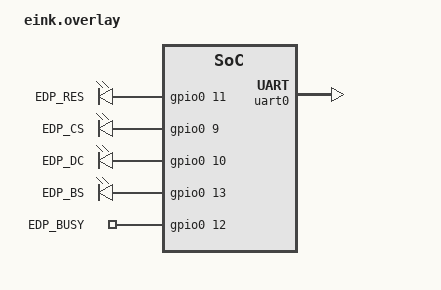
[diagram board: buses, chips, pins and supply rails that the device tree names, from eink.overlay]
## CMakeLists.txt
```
cmake_minimum_required(VERSION 3.20.0)
find_package(Zephyr REQUIRED HINTS $ENV{ZEPHYR_BASE})

project(nrf51822_elink42)

# 將 src 目錄下的所有 .c 檔案添加到構建中
file(GLOB SRC_FILES "src/*.c")

target_sources(app PRIVATE ${SRC_FILES})
```

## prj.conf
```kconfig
CONFIG_GPIO=y
CONFIG_LED=y
CONFIG_I2C=n
CONFIG_SPI=y
CONFIG_SPI_NRFX=y
# 啟用內部合成時鐘源
CONFIG_CLOCK_CONTROL=y
CONFIG_CLOCK_CONTROL_NRF=y
CONFIG_CLOCK_CONTROL_NRF_K32SRC_SYNTH=y
CONFIG_CLOCK_CONTROL_NRF_K32SRC_XTAL=n

CONFIG_LOG=y                  # 啟用日志系統
CONFIG_USE_SEGGER_RTT=y       # 啟用 SEGGER RTT 作為日志後端
CONFIG_RTT_CONSOLE=n          # 啟用 RTT 作為控制台輸出
CONFIG_UART_CONSOLE=n         # 禁用 UART 控制台（因為我們使用 RTT）要關閉RTT才會出

CONFIG_FLASH=y
CONFIG_FLASH_MAP=y
CONFIG_MAIN_STACK_SIZE=1024

CONFIG_BT=y
CONFIG_BT_PERIPHERAL=y
```

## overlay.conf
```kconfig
 {
    aliases {
        respin = "/epd_out/res";
        cspin = "/epd_out/cs";
        dcpin = "/epd_out/dc";
        bspin = "/epd_out/bs";
        busypin = "/epd_in/busy";
        //vdiv = "/vbatt";
    };
    chosen {
        zephyr,code-partition = &slot0_partition;
    };

    partitions {
        compatible = "fixed-partitions";
        #address-cells = <1>;
        #size-cells = <1>;

        slot0_partition: partition@0 {
            label = "slot0";
            reg = <0x00000000 0x00020000>;  /* 128KB */
        };

        storage_partition: partition@20000 {
            label = "storage";
            reg = <0x00020000 0x00020000>;  /* 128KB */
        };
    };

    epd_out {
        compatible = "gpio-leds";
        res {
            gpios = <&gpio0 11 GPIO_ACTIVE_HIGH>;
            label = "EDP_RES";
        };
        cs {
            gpios = <&gpio0 9 GPIO_ACTIVE_HIGH>;
            label = "EDP_CS";
        };
        dc {
            gpios = <&gpio0 10 GPIO_ACTIVE_HIGH>;
            label = "EDP_DC";
        };
        bs {
            gpios = <&gpio0 13 GPIO_ACTIVE_HIGH>;
            label = "EDP_BS";
        };
    };

    epd_in {
        compatible = "gpio-keys";
        busy {
            gpios = <&gpio0 12 GPIO_ACTIVE_HIGH>;
            label = "EDP_BUSY";
        };
    };

    // vbatt {
        //     compatible = "voltage-divider";
        //     label = "Voltage Divider";
        //     io-channels = <&adc 5>;
        //     power-gpios = <&gpio0 29 0>;
        //     output-ohms = <100000>;
        //     status = "okay";
    // };
};

&uart0 {
    status = "okay";
};

&spi1_default {
    group1 {
        psels = <NRF_PSEL(SPIM_SCK, 0, 8)>, <NRF_PSEL(SPIM_MOSI, 0, 5)>;
    };
};

&spi1_sleep {
    group1 {
        psels = <NRF_PSEL(SPIM_SCK, 0, 8)>, <NRF_PSEL(SPIM_MOSI, 0, 5)>;
        /delete-property/ low-power-enable;
    };
};

&spi1 {
    /delete-property/ cs-gpios;

};
```

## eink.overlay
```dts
// To get started, press Ctrl+Space (or Option+Esc) to bring up the completion menu and view the available nodes.

// You can also use the buttons in the sidebar to perform actions on nodes.
// Actions currently available include:

// * Enabling / disabling the node
// * Adding the bus to a bus
// * Removing the node
// * Connecting ADC channels

// For more help, browse the DeviceTree documentation at https: //docs.zephyrproject.org/latest/guides/dts/index.html
// You can also visit the nRF DeviceTree extension documentation at https: //docs.nordicsemi.com/bundle/nrf-connect-vscode/page/guides/ncs_configure_app.html#devicetree-support-in-the-extension

/{
    aliases {
        respin = "/epd_out/res";
        cspin = "/epd_out/cs";
        dcpin = "/epd_out/dc";
        bspin = "/epd_out/bs";
        busypin = "/epd_in/busy";

        //vdiv = "/vbatt";
    };
    chosen {
        zephyr,code-partition = &slot0_partition;
    };

    partitions {
        compatible = "fixed-partitions";
        #address-cells = <1>;
        #size-cells = <1>;

        slot0_partition: partition@0 {
            label = "slot0";
            reg = <0x00000000 0x00020000>;  /* 128KB */
        };

        storage_partition: partition@20000 {
            label = "storage";
            reg = <0x00020000 0x00020000>;  /* 128KB */
        };
    };

    epd_out {
        compatible = "gpio-leds";
        res {
            gpios = <&gpio0 11 GPIO_ACTIVE_HIGH>;
            label = "EDP_RES";
        };
        cs {
            gpios = <&gpio0 9 GPIO_ACTIVE_HIGH>;
            label = "EDP_CS";
        };
        dc {
            gpios = <&gpio0 10 GPIO_ACTIVE_HIGH>;
            label = "EDP_DC";
        };
        bs {
            gpios = <&gpio0 13 GPIO_ACTIVE_HIGH>;
            label = "EDP_BS";
        };
    };

    epd_in {
        compatible = "gpio-keys";
        busy {
            gpios = <&gpio0 12 GPIO_ACTIVE_HIGH>;
            label = "EDP_BUSY";
        };
    };
};

&uart0 {
    status = "okay";
};


&gpiote {
    status = "okay";
};

&spi1_default {
    group1 {
        psels = <NRF_PSEL(SPIM_SCK, 0, 8)>, <NRF_PSEL(SPIM_MOSI, 0, 5)>;
    };
};

&spi1_sleep {
    group1 {
        psels = <NRF_PSEL(SPIM_SCK, 0, 8)>, <NRF_PSEL(SPIM_MOSI, 0, 5)>;
        /delete-property/ low-power-enable;
    };
};

&spi1 {
    /delete-property/ cs-gpios;

};


&uart0_default {
    group1 {
        psels = <NRF_PSEL(UART_RX, 0, 6)>;
    };
};

&uart0_sleep {
    group1 {
        psels = <NRF_PSEL(UART_RX, 0, 6)>;
        low-power-enable;
    };
};
```

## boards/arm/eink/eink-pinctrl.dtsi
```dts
&pinctrl {
    i2c0_default: i2c0_default {
        group1 {
            psels = <NRF_PSEL(TWIM_SDA, 0, 0)>,
                    <NRF_PSEL(TWIM_SCL, 0, 1)>;
        };
    };

    i2c0_sleep: i2c0_sleep {
        group1 {
            psels = <NRF_PSEL(TWIM_SDA, 0, 0)>,
                    <NRF_PSEL(TWIM_SCL, 0, 1)>;
            low-power-enable;
        };
    };

    spi1_default: spi1_default {
        group1 {
            psels = <NRF_PSEL(SPIM_SCK, 0, 25)>,
                    <NRF_PSEL(SPIM_MOSI, 0, 24)>,
                    <NRF_PSEL(SPIM_MISO, 0, 23)>;
        };
    };

    spi1_sleep: spi1_sleep {
        group1 {
            psels = <NRF_PSEL(SPIM_SCK, 0, 25)>,
                    <NRF_PSEL(SPIM_MOSI, 0, 24)>,
                    <NRF_PSEL(SPIM_MISO, 0, 23)>;
            low-power-enable;
        };
    };

    uart0_default: uart0_default {
        group1 {
            psels = <NRF_PSEL(UART_TX, 0, 9)>,
                    <NRF_PSEL(UART_RX, 0, 11)>,
                    <NRF_PSEL(UART_RTS, 0, 8)>,
                    <NRF_PSEL(UART_CTS, 0, 10)>;
        };
    };

    uart0_sleep: uart0_sleep {
        group1 {
            psels = <NRF_PSEL(UART_TX, 0, 9)>,
                    <NRF_PSEL(UART_RX, 0, 11)>,
                    <NRF_PSEL(UART_RTS, 0, 8)>,
                    <NRF_PSEL(UART_CTS, 0, 10)>;
            low-power-enable;
        };
    };

};
```

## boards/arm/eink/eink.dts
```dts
// Copyright (c) 2024 Nordic Semiconductor ASA
// SPDX-License-Identifier: Apache-2.0

/dts-v1/;
#include <nordic/nrf51822_qfab.dtsi>
#include "eink-pinctrl.dtsi"
#include <zephyr/dt-bindings/input/input-event-codes.h>

/ {
	model = "eink";
	compatible = "oliver0804,eink";

	chosen {
		zephyr,console = &uart0;
		zephyr,shell-uart = &uart0;
		zephyr,bt-mon-uart = &uart0;
		zephyr,bt-c2h-uart = &uart0;
		zephyr,sram = &sram0;
		zephyr,flash = &flash0;
	};

	/* These aliases are provided for compatibility with samples */
	aliases {
		led0 = &led0;
		led1 = &led1;
		led2 = &led2;
		led3 = &led3;
		led4 = &led4;
		sw0 = &button0;
		sw1 = &button1;
		watchdog0 = &wdt0;
	};

	leds {
		status = "disabled";
		compatible = "gpio-leds";
		led0: led_0 {
			status = "disabled";
			gpios = <&gpio0 18 0>;
			label = "Red LED 0";
		};
		led1: led_1 {
			status = "disabled";
			gpios = <&gpio0 19 0>;
			label = "Red LED 1";
		};
		led2: led_2 {
			status = "disabled";
			gpios = <&gpio0 20 0>;
			label = "Red LED 2";
		};
		led3: led_3 {
			status = "disabled";
			gpios = <&gpio0 21 0>;
			label = "Red LED 3";
		};
		led4: led_4 {
			status = "disabled";
			gpios = <&gpio0 22 0>;
			label = "Red LED 4";
		};
	};

	buttons {
		status = "disabled";
		/* Push button switch 0 KEY1 */
		compatible = "gpio-keys";
		button0: button_0 {
			status = "disabled";
			gpios = <&gpio0 16 (GPIO_PULL_UP | GPIO_ACTIVE_LOW)>;
			label = "Push button switch 0";
			zephyr,code = <INPUT_KEY_0>;
		};
		/* Push button switch 1 KEY2 */
		button1: button_1 {
			status = "disabled";
			gpios = <&gpio0 17 (GPIO_PULL_UP | GPIO_ACTIVE_LOW)>;
			label = "Push button switch 1";
			zephyr,code = <INPUT_KEY_1>;
		};
	};

};

&gpiote {
	status = "okay";
};

&gpio0 {
	status = "okay";
};

&i2c0 {
	status = "disabled";
	/* smba-pin = <2>; */
	pinctrl-0 = <&i2c0_default>;
	pinctrl-1 = <&i2c0_sleep>;
	pinctrl-names = "default", "sleep";
};

&spi1 {
	compatible = "nordic,nrf-spi";
	status = "okay";
	cs-gpios = <&gpio0 30 GPIO_ACTIVE_LOW>;
	pinctrl-0 = <&spi1_default>;
	pinctrl-1 = <&spi1_sleep>;
	pinctrl-names = "default", "sleep";
};

&uart0 {
	current-speed = <115200>;
	status = "okay";
	pinctrl-0 = <&uart0_default>;
	pinctrl-1 = <&uart0_sleep>;
	pinctrl-names = "default", "sleep";
};
```

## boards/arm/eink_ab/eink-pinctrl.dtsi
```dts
&pinctrl {
    i2c0_default: i2c0_default {
        group1 {
            psels = <NRF_PSEL(TWIM_SDA, 0, 0)>,
                    <NRF_PSEL(TWIM_SCL, 0, 1)>;
        };
    };

    i2c0_sleep: i2c0_sleep {
        group1 {
            psels = <NRF_PSEL(TWIM_SDA, 0, 0)>,
                    <NRF_PSEL(TWIM_SCL, 0, 1)>;
            low-power-enable;
        };
    };

    spi1_default: spi1_default {
        group1 {
            psels = <NRF_PSEL(SPIM_SCK, 0, 25)>,
                    <NRF_PSEL(SPIM_MOSI, 0, 24)>,
                    <NRF_PSEL(SPIM_MISO, 0, 23)>;
        };
    };

    spi1_sleep: spi1_sleep {
        group1 {
            psels = <NRF_PSEL(SPIM_SCK, 0, 25)>,
                    <NRF_PSEL(SPIM_MOSI, 0, 24)>,
                    <NRF_PSEL(SPIM_MISO, 0, 23)>;
            low-power-enable;
        };
    };

    uart0_default: uart0_default {
        group1 {
            psels = <NRF_PSEL(UART_TX, 0, 7)>,
                    <NRF_PSEL(UART_RX, 0, 6)>,
                    <NRF_PSEL(UART_RTS, 0, 8)>,
                    <NRF_PSEL(UART_CTS, 0, 10)>;
        };
    };

    uart0_sleep: uart0_sleep {
        group1 {
            psels = <NRF_PSEL(UART_TX, 0, 7)>,
                    <NRF_PSEL(UART_RX, 0, 6)>,
                    <NRF_PSEL(UART_RTS, 0, 8)>,
                    <NRF_PSEL(UART_CTS, 0, 10)>;
            low-power-enable;
        };
    };

};
```

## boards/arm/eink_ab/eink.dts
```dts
// Copyright (c) 2024 Nordic Semiconductor ASA
// SPDX-License-Identifier: Apache-2.0

/dts-v1/;
#include <nordic/nrf51822_qfac.dtsi>
#include "eink-pinctrl.dtsi"
#include <zephyr/dt-bindings/input/input-event-codes.h>

/ {
	model = "eink_51822ab";
	compatible = "oliver0804,eink";

	chosen {
		zephyr,console = &uart0;
		zephyr,shell-uart = &uart0;
		zephyr,bt-mon-uart = &uart0;
		zephyr,bt-c2h-uart = &uart0;
		zephyr,sram = &sram0;
		zephyr,flash = &flash0;
	};

	/* These aliases are provided for compatibility with samples */
	aliases {
		led0 = &led0;
		led1 = &led1;
		led2 = &led2;
		led3 = &led3;
		led4 = &led4;
		sw0 = &button0;
		sw1 = &button1;
		watchdog0 = &wdt0;
	};

	leds {
		status = "disabled";
		compatible = "gpio-leds";
		led0: led_0 {
			status = "disabled";
			gpios = <&gpio0 18 0>;
			label = "Red LED 0";
		};
		led1: led_1 {
			status = "disabled";
			gpios = <&gpio0 19 0>;
			label = "Red LED 1";
		};
		led2: led_2 {
			status = "disabled";
			gpios = <&gpio0 20 0>;
			label = "Red LED 2";
		};
		led3: led_3 {
			status = "disabled";
			gpios = <&gpio0 21 0>;
			label = "Red LED 3";
		};
		led4: led_4 {
			status = "disabled";
			gpios = <&gpio0 22 0>;
			label = "Red LED 4";
		};
	};

	buttons {
		status = "disabled";
		/* Push button switch 0 KEY1 */
		compatible = "gpio-keys";
		button0: button_0 {
			status = "disabled";
			gpios = <&gpio0 16 (GPIO_PULL_UP | GPIO_ACTIVE_LOW)>;
			label = "Push button switch 0";
			zephyr,code = <INPUT_KEY_0>;
		};
		/* Push button switch 1 KEY2 */
		button1: button_1 {
			status = "disabled";
			gpios = <&gpio0 17 (GPIO_PULL_UP | GPIO_ACTIVE_LOW)>;
			label = "Push button switch 1";
			zephyr,code = <INPUT_KEY_1>;
		};
	};

};

&gpiote {
	status = "okay";
};

&gpio0 {
	status = "okay";
};

&i2c0 {
	status = "disabled";
	/* smba-pin = <2>; */
	pinctrl-0 = <&i2c0_default>;
	pinctrl-1 = <&i2c0_sleep>;
	pinctrl-names = "default", "sleep";
};

&spi1 {
	compatible = "nordic,nrf-spi";
	status = "okay";
	cs-gpios = <&gpio0 30 GPIO_ACTIVE_LOW>;
	pinctrl-0 = <&spi1_default>;
	pinctrl-1 = <&spi1_sleep>;
	pinctrl-names = "default", "sleep";
};

&uart0 {
	current-speed = <115200>;
	status = "okay";
	pinctrl-0 = <&uart0_default>;
	pinctrl-1 = <&uart0_sleep>;
	pinctrl-names = "default", "sleep";
};
```

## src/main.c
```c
#include <zephyr/kernel.h>
#include <zephyr/sys/printk.h>
#include "epd_driver.h"
#include "epd_gpio.h"
#include "epd_graphics.h"
#include "epd_image_data.h"

void main(void)
{
	gpio_init(); // 初始化GPIO
	k_msleep(500);

	epd_hw_init(); // 初始化電子紙

	while (1)
	{
		printk("全螢幕刷新\n");
		epd_clear_frame();
		epd_display_frame_image(epd_bitmap_images_blackcat);
		epd_sleep();
		k_msleep(50);
		while (1)
		{
			k_msleep(1000);
		}
	}
}
```

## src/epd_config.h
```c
#ifndef EPD_CONFIG_H
#define EPD_CONFIG_H

#include <zephyr/types.h>

#include <zephyr/device.h>
#include <zephyr/drivers/gpio.h>
#include <zephyr/sys/util.h>
#include <zephyr/drivers/spi.h>

#include <zephyr/sys/printk.h>
// Display resolution
#define EPD_WIDTH 400
#define EPD_HEIGHT 300

// EPD4IN2 commands
#define PANEL_SETTING 0x00
#define POWER_SETTING 0x01
#define POWER_OFF 0x02
#define POWER_OFF_SEQUENCE_SETTING 0x03
#define POWER_ON 0x04
#define POWER_ON_MEASURE 0x05
#define BOOSTER_SOFT_START 0x06
#define DEEP_SLEEP 0x07
#define DATA_START_TRANSMISSION_1 0x10
#define DATA_STOP 0x11
#define DISPLAY_REFRESH 0x12
#define DATA_START_TRANSMISSION_2 0x13
#define LUT_FOR_VCOM 0x20
#define LUT_WHITE_TO_WHITE 0x21
#define LUT_BLACK_TO_WHITE 0x22
#define LUT_WHITE_TO_BLACK 0x23
#define LUT_BLACK_TO_BLACK 0x24
#define PLL_CONTROL 0x30
#define TEMPERATURE_SENSOR_COMMAND 0x40
#define TEMPERATURE_SENSOR_SELECTION 0x41
#define TEMPERATURE_SENSOR_WRITE 0x42
#define TEMPERATURE_SENSOR_READ 0x43
#define VCOM_AND_DATA_INTERVAL_SETTING 0x50
#define LOW_POWER_DETECTION 0x51
#define TCON_SETTING 0x60
#define RESOLUTION_SETTING 0x61
#define GSST_SETTING 0x65
#define GET_STATUS 0x71
#define AUTO_MEASUREMENT_VCOM 0x80
#define READ_VCOM_VALUE 0x81
#define VCM_DC_SETTING 0x82
#define PARTIAL_WINDOW 0x90
#define PARTIAL_IN 0x91
#define PARTIAL_OUT 0x92
#define PROGRAM_MODE 0xA0
#define ACTIVE_PROGRAMMING 0xA1
#define READ_OTP 0xA2
#define POWER_SAVING 0xE3

#define SPI_BUS DT_NODELABEL(spi1)

#define MONOMSB_MODE 1
#define MONOLSB_MODE 2
#define RED_MODE 3

#define MAX_LINE_BYTES 25 // =200/8
#define MAX_COLUMN_BYTES 200

#define ALLSCREEN_GRAGHBYTES 5000
#endif
```

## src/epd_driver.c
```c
#include "epd_driver.h"
#include "epd_gpio.h"
#include "epd_config.h"
#include "lut.h"
#include <zephyr/kernel.h>
#include <zephyr/sys/printk.h>
#include <zephyr/drivers/spi.h>

const struct device *spi_dev = DEVICE_DT_GET(SPI_BUS);

const struct spi_config spi_cfg = {
    .frequency = 1000000U,
    .operation = SPI_WORD_SET(8) | SPI_TRANSFER_MSB | SPI_OP_MODE_MASTER};

void epd_read_busy(void)
{
    printk("等待電子紙閒置中...\n");
    while (gpio_pin_get_dt(&edp_busy_pin) == 1)
    {
        k_msleep(10); // 監測忙碌腳位狀態
    }
    printk("電子紙進入閒置狀態\n");
}
void epd_set_lut(void)
{
    uint8_t count;

    // 設置 VCOM 查找表
    epd_write_command(LUT_FOR_VCOM);
    for (count = 0; count < 36; count++)
    {
        epd_write_data(lut_vcom0[count]);
    }

    // 設置 WW (白到白)
    epd_write_command(LUT_WHITE_TO_WHITE);
    for (count = 0; count < 36; count++)
    {
        epd_write_data(lut_ww[count]);
    }

    // 設置 BW (黑到白)
    epd_write_command(LUT_BLACK_TO_WHITE);
    for (count = 0; count < 36; count++)
    {
        epd_write_data(lut_bw[count]);
    }

    // 設置 WB (白到黑)
    epd_write_command(LUT_WHITE_TO_BLACK);
    for (count = 0; count < 36; count++)
    {
        epd_write_data(lut_wb[count]);
    }

    // 設置 BB (黑到黑)
    epd_write_command(LUT_BLACK_TO_BLACK);
    for (count = 0; count < 36; count++)
    {
        epd_write_data(lut_bb[count]);
    }

    printk("LUT 設置完成\n");
}
void epd_sleep(void)
{
    epd_write_command(VCOM_AND_DATA_INTERVAL_SETTING);
    epd_write_data(0x17);              // border floating
    epd_write_command(VCM_DC_SETTING); // VCOM to 0V
    epd_write_command(PANEL_SETTING);
    k_msleep(100);

    epd_write_command(POWER_SETTING); // VG&VS to 0V fast
    epd_write_data(0x00);
    epd_write_data(0x00);
    epd_write_data(0x00);
    epd_write_data(0x00);
    epd_write_data(0x00);
    k_msleep(100);

    epd_write_command(POWER_OFF); // power off
    epd_read_busy();
    epd_write_command(DEEP_SLEEP); // deep sleep
    epd_write_data(0xA5);
}
void epd_hw_init(void)
{
    printk("EPD_HW_Init 開始初始化電子紙\n");

    // 設置重置引腳為低電位
    int ret = gpio_pin_set_dt(&edp_res_pin, 0);
    if (ret < 0)
    {
        printk("設定重置引腳失敗\n");
    }
    else
    {
        printk("重置引腳已設置為低電位\n");
    }

    // 執行電子紙重置流程
    epd_reset();

    // 功率設置命令 (Power Setting)
    epd_write_command(0x06);
    epd_write_data(0x17); // 擴展電壓設置
    epd_write_data(0x17); // 擴展電壓設置
    epd_write_data(0x17); // 擴展電壓設置

    // 電源升壓命令 (Power On)
    epd_write_command(0x04);

    // 讀取功率狀態 (Power Status)
    epd_write_command(0x17);
    epd_write_data(0x16);

    // 面板設置命令 (Panel Setting)
    epd_write_command(0x01);
    epd_write_data(0x03); // VDS_EN, VDG_EN 啟用
    epd_write_data(0x00); // VCOM_HV, VGHL_LV[1], VGHL_LV[0] 設置為默認值
    epd_write_data(0x2b); // VDH 電壓高位設置
    epd_write_data(0x2b); // VDL 電壓低位設置

    // 功率設置命令 (重新設置)
    epd_write_command(0x06);
    epd_write_data(0x17); // 擴展電壓設置
    epd_write_data(0x17); // 擴展電壓設置
    epd_write_data(0x17); // 擴展電壓設置

    // 電源升壓命令
    epd_write_command(0x04);
    epd_read_busy(); // 等待升壓完成

    // VCOM 設置命令
    epd_write_command(0x00);
    epd_write_data(0xbf); // KW-BF   KWR-AF  BWROTP 設置值

    // 顯示刷新頻率設置 (Data Mode)
    epd_write_command(0x30);
    epd_write_data(0x3c); // 頻率選擇: 100Hz 或更高

    // 分辨率設置命令 (Resolution Setting)
    epd_write_command(0x61);
    epd_write_data(0x01); // 寬度高位 (示例設置)
    epd_write_data(0x90); // 寬度低位 (128)
    epd_write_data(0x01); // 高度高位
    epd_write_data(0x2c); // 高度低位

    // VCOM 直流偏壓設置命令 (VCOM DC Setting)
    epd_write_command(0x82);
    epd_write_data(0x12); // 偏壓設置值

    // VCOM 與數據間隔設置命令 (VCOM and Data Interval Setting)
    epd_write_command(0X50);
    epd_write_data(0x97); // 邊框顏色設置為白色 (0x97 表示白邊框)

    // 設置查找表 (LUT)
    epd_set_lut();

    printk("電子紙初始化完成\n");
}

/* 電子紙重置邏輯，基於 Zephyr API */
void epd_reset(void)
{
    // 第一次重置
    gpio_pin_set_dt(&edp_res_pin, 0); // EPD_W21_RST_0
    k_msleep(2);
    gpio_pin_set_dt(&edp_res_pin, 1); // EPD_W21_RST_1
    k_msleep(20);

    // 第二次重置
    gpio_pin_set_dt(&edp_res_pin, 0); // EPD_W21_RST_0
    k_msleep(2);
    gpio_pin_set_dt(&edp_res_pin, 1); // EPD_W21_RST_1
    k_msleep(20);

    // 第三次重置
    gpio_pin_set_dt(&edp_res_pin, 0); // EPD_W21_RST_0
    k_msleep(2);
    gpio_pin_set_dt(&edp_res_pin, 1); // EPD_W21_RST_1
    k_msleep(20);

    // 確保重置腳位處於高電位
    gpio_pin_set_dt(&edp_res_pin, 1); // EPD_W21_RST_1
    printk("電子紙重置完成\n");
}

void epd_write_command(uint8_t cmd)
{
    gpio_pin_set_dt(&edp_cs_pin, 0);
    gpio_pin_set_dt(&edp_dc_pin, 0); // 命令模式
    epd_spi_write_byte(cmd);
    gpio_pin_set_dt(&edp_cs_pin, 1);
}

void epd_write_data(uint8_t data)
{
    gpio_pin_set_dt(&edp_cs_pin, 0);
    gpio_pin_set_dt(&edp_dc_pin, 1); // 資料模式
    epd_spi_write_byte(data);
    gpio_pin_set_dt(&edp_cs_pin, 1);
}

void epd_spi_write_byte(uint8_t data)
{
    struct spi_buf tx_buf = {.buf = &data, .len = 1};
    struct spi_buf_set tx = {.buffers = &tx_buf, .count = 1};
    spi_write(spi_dev, &spi_cfg, &tx);
}
```

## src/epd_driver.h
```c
#ifndef EPD_DRIVER_H
#define EPD_DRIVER_H

#include <zephyr/kernel.h>
#include <zephyr/drivers/spi.h>
#include <zephyr/types.h>

void epd_hw_init(void);
void epd_reset(void);
void epd_write_command(uint8_t cmd);
void epd_write_data(uint8_t data);
void epd_spi_write_byte(uint8_t data);
void epd_set_lut(void);
void epd_clear_frame(void);
void epd_display_frame_image(const uint8_t *frame_buffer);
void epd_sleep(void);

#endif
```

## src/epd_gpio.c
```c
#include "epd_gpio.h"
#include "epd_config.h"

#include <zephyr/drivers/gpio.h>
#include <zephyr/sys/printk.h>

/* The devicetree node identifier for the "led0" alias. */
#define RES DT_ALIAS(respin)       // res
#define EPD_CS DT_ALIAS(cspin)     // cs
#define EPD_DC DT_ALIAS(dcpin)     // dc
#define EPD_BUSY DT_ALIAS(busypin) // busy
#define EPD_BS DT_ALIAS(bspin)     // busy
                                   // #define LED0_NODE DT_ALIAS(led0)

const struct gpio_dt_spec edp_res_pin = GPIO_DT_SPEC_GET(RES, gpios);
const struct gpio_dt_spec edp_cs_pin = GPIO_DT_SPEC_GET(EPD_CS, gpios);
const struct gpio_dt_spec edp_dc_pin = GPIO_DT_SPEC_GET(EPD_DC, gpios);
const struct gpio_dt_spec edp_busy_pin = GPIO_DT_SPEC_GET(EPD_BUSY, gpios);
const struct gpio_dt_spec edp_bs_pin = GPIO_DT_SPEC_GET(EPD_BS, gpios);
// static const struct gpio_dt_spec led = GPIO_DT_SPEC_GET(LED0_NODE, gpios);

void gpio_init(void)
{
    if (!device_is_ready(edp_cs_pin.port) || !device_is_ready(edp_dc_pin.port) ||
        !device_is_ready(edp_res_pin.port) || !device_is_ready(edp_busy_pin.port))
    {
        printk("GPIO 初始化失敗！\n");
        return;
    }

    gpio_pin_configure_dt(&edp_cs_pin, GPIO_OUTPUT_ACTIVE);
    gpio_pin_configure_dt(&edp_dc_pin, GPIO_OUTPUT_ACTIVE);
    gpio_pin_configure_dt(&edp_res_pin, GPIO_OUTPUT_ACTIVE);
    gpio_pin_configure_dt(&edp_busy_pin, GPIO_INPUT | GPIO_PULL_UP);
    gpio_pin_configure_dt(&edp_bs_pin, GPIO_OUTPUT_ACTIVE);

    gpio_pin_set_dt(&edp_bs_pin, 0);
    printk("GPIO 初始化成功！\n");
}
```

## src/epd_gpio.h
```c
#ifndef EPD_GPIO_H
#define EPD_GPIO_H

#include <zephyr/drivers/gpio.h>

extern const struct gpio_dt_spec edp_cs_pin;
extern const struct gpio_dt_spec edp_dc_pin;
extern const struct gpio_dt_spec edp_res_pin;
extern const struct gpio_dt_spec edp_busy_pin;
extern const struct gpio_dt_spec edp_bs_pin;

void gpio_init(void);

#endif
```

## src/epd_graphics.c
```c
#include "epd_driver.h"
#include "epd_graphics.h"
#include "epd_config.h"
int width = EPD_WIDTH;
int height = EPD_HEIGHT;
void epd_clear_frame(void)
{
    // 設置電子紙解析度
    epd_write_command(RESOLUTION_SETTING);
    epd_write_data(width >> 8);    // 寬度高位元組
    epd_write_data(width & 0xff);  // 寬度低位元組
    epd_write_data(height >> 8);   // 高度高位元組
    epd_write_data(height & 0xff); // 高度低位元組

    // 開始數據傳輸 (第一層影像資料)
    epd_write_command(DATA_START_TRANSMISSION_1);
    k_msleep(2); // 確保命令被執行

    // 傳輸全白資料
    for (int i = 0; i < width / 8 * height; i++)
    {
        epd_write_data(0xFF); // 0xFF 表示白色像素
    }

    k_msleep(2);

    // 開始數據傳輸 (第二層影像資料)
    epd_write_command(DATA_START_TRANSMISSION_2);
    k_msleep(2); // 確保命令被執行

    // 傳輸全白資料
    for (int i = 0; i < width / 8 * height; i++)
    {
        epd_write_data(0xFF); // 0xFF 表示白色像素
    }

    k_msleep(2); // 保證傳輸完成
}

void epd_display_frame_image(const uint8_t *frame_buffer)
{
    // 設置電子紙解析度
    epd_write_command(RESOLUTION_SETTING);
    epd_write_data(width >> 8);    // 寬度高位元組
    epd_write_data(width & 0xff);  // 寬度低位元組
    epd_write_data(height >> 8);   // 高度高位元組
    epd_write_data(height & 0xff); // 高度低位元組

    // 設置 VCOM DC 偏壓
    epd_write_command(VCM_DC_SETTING);
    epd_write_data(0x12); // 偏壓值，依據資料手冊設置

    // 設置 VCOM 與數據間隔控制
    epd_write_command(VCOM_AND_DATA_INTERVAL_SETTING);
    epd_write_data(0x97); // 設置白邊框，根據硬件資料手冊設置

    // 傳輸數據 (第一層影像資料)
    epd_write_command(DATA_START_TRANSMISSION_1);
    for (int i = 0; i < width / 8 * height; i++)
    {
        epd_write_data(0xFF); // 0xFF 表示白色像素
    }
    k_msleep(2);

    // 傳輸數據 (第二層影像資料)
    epd_write_command(DATA_START_TRANSMISSION_2);
    for (int i = 0; i < width / 8 * height; i++)
    {
        // 從影像緩衝區讀取數據
        epd_write_data(frame_buffer[i]);
    }
    k_msleep(2);

    // 啟動顯示刷新
    epd_write_command(DISPLAY_REFRESH); // 0x12 啟動電子紙刷新
    k_msleep(100);                      // 等待刷新

    // 等待忙狀態結束
    epd_read_busy(); // 等待 BUSY 引腳空閒
}
```

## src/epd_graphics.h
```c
#ifndef EPD_GRAPHICS_H
#define EPD_GRAPHICS_H

#include <zephyr/types.h>

void epd_clear_frame(void);
void epd_display_frame_image(const uint8_t *frame_buffer);

#endif
```

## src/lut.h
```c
const unsigned char lut_vcom0[] =
    {
        0x00,
        0x08,
        0x08,
        0x00,
        0x00,
        0x02,
        0x00,
        0x0F,
        0x0F,
        0x00,
        0x00,
        0x01,
        0x00,
        0x08,
        0x08,
        0x00,
        0x00,
        0x02,
        0x00,
        0x00,
        0x00,
        0x00,
        0x00,
        0x00,
        0x00,
        0x00,
        0x00,
        0x00,
        0x00,
        0x00,
        0x00,
        0x00,
        0x00,
        0x00,
        0x00,
        0x00,
        0x00,
        0x00,
        0x00,
        0x00,
        0x00,
        0x00,
        0x00,
        0x00,

};
const unsigned char lut_ww[] = {
    0x50,
    0x08,
    0x08,
    0x00,
    0x00,
    0x02,
    0x90,
    0x0F,
    0x0F,
    0x00,
    0x00,
    0x01,
    0xA0,
    0x08,
    0x08,
    0x00,
    0x00,
    0x02,
    0x00,
    0x00,
    0x00,
    0x00,
    0x00,
    0x00,
    0x00,
    0x00,
    0x00,
    0x00,
    0x00,
    0x00,
    0x00,
    0x00,
    0x00,
    0x00,
    0x00,
    0x00,
    0x00,
    0x00,
    0x00,
    0x00,
    0x00,
    0x00,

};
const unsigned char lut_bw[] = {
    0x50,
    0x08,
    0x08,
    0x00,
    0x00,
    0x02,
    0x90,
    0x0F,
    0x0F,
    0x00,
    0x00,
    0x01,
    0xA0,
    0x08,
    0x08,
    0x00,
    0x00,
    0x02,
    0x00,
    0x00,
    0x00,
    0x00,
    0x00,
    0x00,
    0x00,
    0x00,
    0x00,
    0x00,
    0x00,
    0x00,
    0x00,
    0x00,
    0x00,
    0x00,
    0x00,
    0x00,
    0x00,
    0x00,
    0x00,
    0x00,
    0x00,
    0x00,

};

const unsigned char lut_bb[] = {
    0xA0,
    0x08,
    0x08,
    0x00,
    0x00,
    0x02,
    0x90,
    0x0F,
    0x0F,
    0x00,
    0x00,
    0x01,
    0x50,
    0x08,
    0x08,
    0x00,
    0x00,
    0x02,
    0x00,
    0x00,
    0x00,
    0x00,
    0x00,
    0x00,
    0x00,
    0x00,
    0x00,
    0x00,
    0x00,
    0x00,
    0x00,
    0x00,
    0x00,
    0x00,
    0x00,
    0x00,
    0x00,
    0x00,
    0x00,
    0x00,
    0x00,
    0x00,

};

const unsigned char lut_wb[] = {
    0x20,
    0x08,
    0x08,
    0x00,
    0x00,
    0x02,
    0x90,
    0x0F,
    0x0F,
    0x00,
    0x00,
    0x01,
    0x10,
    0x08,
    0x08,
    0x00,
    0x00,
    0x02,
    0x00,
    0x00,
    0x00,
    0x00,
    0x00,
    0x00,
    0x00,
    0x00,
    0x00,
    0x00,
    0x00,
    0x00,
    0x00,
    0x00,
    0x00,
    0x00,
    0x00,
    0x00,
    0x00,
    0x00,
    0x00,
    0x00,
    0x00,
    0x00,

};

/******************************gray*********************************/
// 0~3 gray
const unsigned char EPD_4IN2_4Gray_lut_vcom[] =
    {
        0x00, 0x0A, 0x00, 0x00, 0x00, 0x01,
        0x60, 0x14, 0x14, 0x00, 0x00, 0x01,
        0x00, 0x14, 0x00, 0x00, 0x00, 0x01,
        0x00, 0x13, 0x0A, 0x01, 0x00, 0x01,
        0x00, 0x00, 0x00, 0x00, 0x00, 0x00,
        0x00, 0x00, 0x00, 0x00, 0x00, 0x00,
        0x00, 0x00, 0x00, 0x00, 0x00, 0x00

};
// R21
const unsigned char EPD_4IN2_4Gray_lut_ww[] = {
    0x40,
    0x0A,
    0x00,
    0x00,
    0x00,
    0x01,
    0x90,
    0x14,
    0x14,
    0x00,
    0x00,
    0x01,
    0x10,
    0x14,
    0x0A,
    0x00,
    0x00,
    0x01,
    0xA0,
    0x13,
    0x01,
    0x00,
    0x00,
    0x01,
    0x00,
    0x00,
    0x00,
    0x00,
    0x00,
    0x00,
    0x00,
    0x00,
    0x00,
    0x00,
    0x00,
    0x00,
    0x00,
    0x00,
    0x00,
    0x00,
    0x00,
    0x00,
};
// R22H	r
const unsigned char EPD_4IN2_4Gray_lut_bw[] = {
    0x40,
    0x0A,
    0x00,
    0x00,
    0x00,
    0x01,
    0x90,
    0x14,
    0x14,
    0x00,
    0x00,
    0x01,
    0x00,
    0x14,
    0x0A,
    0x00,
    0x00,
    0x01,
    0x99,
    0x0C,
    0x01,
    0x03,
    0x04,
    0x01,
    0x00,
    0x00,
    0x00,
    0x00,
    0x00,
    0x00,
    0x00,
    0x00,
    0x00,
    0x00,
    0x00,
    0x00,
    0x00,
    0x00,
    0x00,
    0x00,
    0x00,
    0x00,
};
// R23H	w
const unsigned char EPD_4IN2_4Gray_lut_wb[] = {
    0x40,
    0x0A,
    0x00,
    0x00,
    0x00,
    0x01,
    0x90,
    0x14,
    0x14,
    0x00,
    0x00,
    0x01,
    0x00,
    0x14,
    0x0A,
    0x00,
    0x00,
    0x01,
    0x99,
    0x0B,
    0x04,
    0x04,
    0x01,
    0x01,
    0x00,
    0x00,
    0x00,
    0x00,
    0x00,
    0x00,
    0x00,
    0x00,
    0x00,
    0x00,
    0x00,
    0x00,
    0x00,
    0x00,
    0x00,
    0x00,
    0x00,
    0x00,
};
// R24H	b
const unsigned char EPD_4IN2_4Gray_lut_bb[] = {
    0x80,
    0x0A,
    0x00,
    0x00,
    0x00,
    0x01,
    0x90,
    0x14,
    0x14,
    0x00,
    0x00,
    0x01,
    0x20,
    0x14,
    0x0A,
    0x00,
    0x00,
    0x01,
    0x50,
    0x13,
    0x01,
    0x00,
    0x00,
    0x01,
    0x00,
    0x00,
    0x00,
    0x00,
    0x00,
    0x00,
    0x00,
    0x00,
    0x00,
    0x00,
    0x00,
    0x00,
    0x00,
    0x00,
    0x00,
    0x00,
    0x00,
    0x00,
};
```
